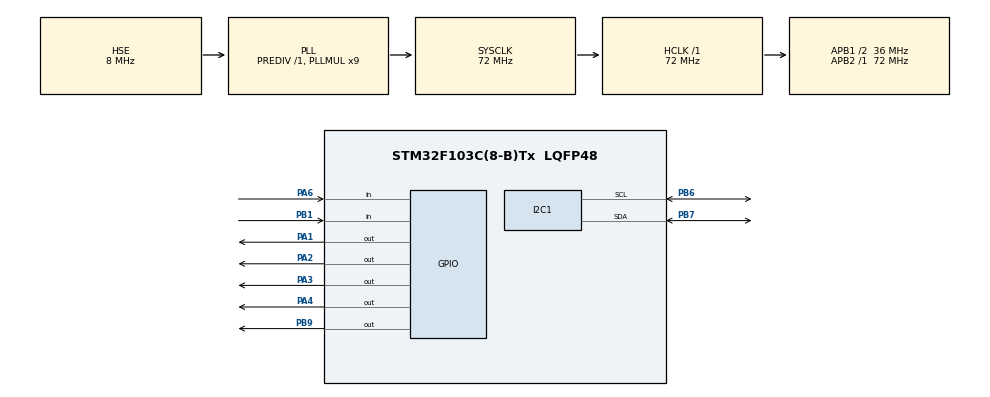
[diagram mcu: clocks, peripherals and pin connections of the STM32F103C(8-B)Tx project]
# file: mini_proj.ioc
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Mcu.Family=STM32F1
Mcu.Name=STM32F103C(8-B)Tx
Mcu.Package=LQFP48
NVIC.PriorityGroup=NVIC_PRIORITYGROUP_4
PA1.Signal=GPIO_Output
PA2.Signal=GPIO_Output
PA3.Signal=GPIO_Output
PA4.Signal=GPIO_Output
PA6.Signal=GPIO_Input
PB1.Signal=GPIO_Input
PB6.Mode=I2C
PB6.Signal=I2C1_SCL
PB7.Mode=I2C
PB7.Signal=I2C1_SDA
PB9.Signal=GPIO_Output
PD0-OSC_IN.Mode=HSE-External-Oscillator
PD0-OSC_IN.Signal=RCC_OSC_IN
PD1-OSC_OUT.Mode=HSE-External-Oscillator
PD1-OSC_OUT.Signal=RCC_OSC_OUT
ProjectManager.HeapSize=0x200
ProjectManager.StackSize=0x400
ProjectManager.TargetToolchain=STM32CubeIDE
RCC.ADCPresc=RCC_ADCPCLK2_DIV6
RCC.AHBFreq_Value=72000000
RCC.APB1CLKDivider=RCC_HCLK_DIV2
RCC.APB1Freq_Value=36000000
RCC.APB1TimFreq_Value=72000000
RCC.APB2Freq_Value=72000000
RCC.APB2TimFreq_Value=72000000
RCC.HCLKFreq_Value=72000000
RCC.PLLMUL=RCC_PLL_MUL9
RCC.PLLSourceVirtual=RCC_PLLSOURCE_HSE
RCC.SYSCLKFreq_VALUE=72000000
RCC.SYSCLKSource=RCC_SYSCLKSOURCE_PLLCLK
RCC.USBFreq_Value=72000000
TIM1.Prescaler=71
VP_TIM1_VS_ClockSourceINT.Mode=Internal
board=custom

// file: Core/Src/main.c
/* USER CODE BEGIN Header */
/**
  ******************************************************************************
  * @file           : main.c
  * @brief          : Main program body
  ******************************************************************************
  * @attention
  *
  * Copyright (c) 2023 STMicroelectronics.
  * All rights reserved.
  *
  * This software is licensed under terms that can be found in the LICENSE file
  * in the root directory of this software component.
  * If no LICENSE file comes with this software, it is provided AS-IS.
  *
  ******************************************************************************
  */
/* USER CODE END Header */
#include "main.h"

/* USER CODE BEGIN Includes */
#include "liquidcrystal_i2c.h"
#include "stdio.h"
/* USER CODE END Includes */

I2C_HandleTypeDef hi2c1;

TIM_HandleTypeDef htim1;

void SystemClock_Config(void);
static void MX_GPIO_Init(void);
static void MX_I2C1_Init(void);
static void MX_TIM1_Init(void);

/* USER CODE BEGIN 0 */
#define DHT11_PORT GPIOB
#define DHT11_PIN GPIO_PIN_9
uint8_t RHI, RHD, TCI, TCD, SUM;
uint32_t pMillis, cMillis;
float tCelsius = 0;

void microDelay (uint16_t delay)
{
  __HAL_TIM_SET_COUNTER(&htim1, 0);
  while (__HAL_TIM_GET_COUNTER(&htim1) < delay);
}

uint8_t DHT11_Start (void)
{
  uint8_t Response = 0;
  GPIO_InitTypeDef GPIO_InitStructPrivate = {0};
  GPIO_InitStructPrivate.Pin = DHT11_PIN;
  GPIO_InitStructPrivate.Mode = GPIO_MODE_OUTPUT_PP;
  GPIO_InitStructPrivate.Speed = GPIO_SPEED_FREQ_LOW;
  GPIO_InitStructPrivate.Pull = GPIO_NOPULL;
  HAL_GPIO_Init(DHT11_PORT, &GPIO_InitStructPrivate); // set the pin as output
  HAL_GPIO_WritePin (DHT11_PORT, DHT11_PIN, 0);   // pull the pin low
  HAL_Delay(20);   // wait for 20ms
  HAL_GPIO_WritePin (DHT11_PORT, DHT11_PIN, 1);   // pull the pin high
  microDelay (30);   // wait for 30us
  GPIO_InitStructPrivate.Mode = GPIO_MODE_INPUT;
  GPIO_InitStructPrivate.Pull = GPIO_PULLUP;
  HAL_GPIO_Init(DHT11_PORT, &GPIO_InitStructPrivate); // set the pin as input
  microDelay (40);
  if (!(HAL_GPIO_ReadPin (DHT11_PORT, DHT11_PIN)))
  {
    microDelay (80);
    if ((HAL_GPIO_ReadPin (DHT11_PORT, DHT11_PIN))) Response = 1;
  }
  pMillis = HAL_GetTick();
  cMillis = HAL_GetTick();
  while ((HAL_GPIO_ReadPin (DHT11_PORT, DHT11_PIN)) && pMillis + 2 > cMillis)
  {
    cMillis = HAL_GetTick();
  }
  return Response;
}

uint8_t DHT11_Read (void)
{
  uint8_t a,b;
  for (a=0;a<8;a++)
  {
    pMillis = HAL_GetTick();
    cMillis = HAL_GetTick();
    while (!(HAL_GPIO_ReadPin (DHT11_PORT, DHT11_PIN)) && pMillis + 2 > cMillis)
    {  // wait for the pin to go high
      cMillis = HAL_GetTick();
    }
    microDelay (40);   // wait for 40 us
    if (!(HAL_GPIO_ReadPin (DHT11_PORT, DHT11_PIN)))   // if the pin is low
      b&= ~(1<<(7-a));
    else
      b|= (1<<(7-a));
    pMillis = HAL_GetTick();
    cMillis = HAL_GetTick();
    while ((HAL_GPIO_ReadPin (DHT11_PORT, DHT11_PIN)) && pMillis + 2 > cMillis)
    {  // wait for the pin to go low
      cMillis = HAL_GetTick();
    }
  }
  return b;
}

// ------------------stepper--------------------------------
void delay(uint16_t us)
{
	__HAL_TIM_SET_COUNTER(&htim1,0);
	while(__HAL_TIM_GET_COUNTER(&htim1)<us);
}
#define stepsperrev 4096

void stepper_set_rpm (int rpm)  // Set rpm--> max 13, min 1,,,  went to 14 rev/min
{
	delay(60000000/stepsperrev/rpm);
}
void stepper_half_drive(int step)
{
	switch (step){
			case 0:
				  HAL_GPIO_WritePin(GPIOA, GPIO_PIN_1, GPIO_PIN_SET);   // IN1
				  HAL_GPIO_WritePin(GPIOA, GPIO_PIN_2, GPIO_PIN_RESET);   // IN2
				  HAL_GPIO_WritePin(GPIOA, GPIO_PIN_3, GPIO_PIN_RESET);   // IN3
				  HAL_GPIO_WritePin(GPIOA, GPIO_PIN_4, GPIO_PIN_RESET);   // IN4
				  break;

			case 1:
				  HAL_GPIO_WritePin(GPIOA, GPIO_PIN_1, GPIO_PIN_SET);   // IN1
				  HAL_GPIO_WritePin(GPIOA, GPIO_PIN_2, GPIO_PIN_SET);   // IN2
				  HAL_GPIO_WritePin(GPIOA, GPIO_PIN_3, GPIO_PIN_RESET);   // IN3
				  HAL_GPIO_WritePin(GPIOA, GPIO_PIN_4, GPIO_PIN_RESET);   // IN4
				  break;

			case 2:
				  HAL_GPIO_WritePin(GPIOA, GPIO_PIN_1, GPIO_PIN_RESET);   // IN1
				  HAL_GPIO_WritePin(GPIOA, GPIO_PIN_2, GPIO_PIN_SET);   // IN2
				  HAL_GPIO_WritePin(GPIOA, GPIO_PIN_3, GPIO_PIN_RESET);   // IN3
				  HAL_GPIO_WritePin(GPIOA, GPIO_PIN_4, GPIO_PIN_RESET);   // IN4
				  break;

			case 3:
				  HAL_GPIO_WritePin(GPIOA, GPIO_PIN_1, GPIO_PIN_RESET);   // IN1
				  HAL_GPIO_WritePin(GPIOA, GPIO_PIN_2, GPIO_PIN_SET);   // IN2
				  HAL_GPIO_WritePin(GPIOA, GPIO_PIN_3, GPIO_PIN_SET);   // IN3
				  HAL_GPIO_WritePin(GPIOA, GPIO_PIN_4, GPIO_PIN_RESET);   // IN4
				  break;

			case 4:
				  HAL_GPIO_WritePin(GPIOA, GPIO_PIN_1, GPIO_PIN_RESET);   // IN1
				  HAL_GPIO_WritePin(GPIOA, GPIO_PIN_2, GPIO_PIN_RESET);   // IN2
				  HAL_GPIO_WritePin(GPIOA, GPIO_PIN_3, GPIO_PIN_SET);   // IN3
				  HAL_GPIO_WritePin(GPIOA, GPIO_PIN_4, GPIO_PIN_RESET);   // IN4
				  break;

			case 5:
				  HAL_GPIO_WritePin(GPIOA, GPIO_PIN_1, GPIO_PIN_RESET);   // IN1
				  HAL_GPIO_WritePin(GPIOA, GPIO_PIN_2, GPIO_PIN_RESET);   // IN2
				  HAL_GPIO_WritePin(GPIOA, GPIO_PIN_3, GPIO_PIN_SET);   // IN3
				  HAL_GPIO_WritePin(GPIOA, GPIO_PIN_4, GPIO_PIN_SET);   // IN4
				  break;

			case 6:
				  HAL_GPIO_WritePin(GPIOA, GPIO_PIN_1, GPIO_PIN_RESET);   // IN1
				  HAL_GPIO_WritePin(GPIOA, GPIO_PIN_2, GPIO_PIN_RESET);   // IN2
				  HAL_GPIO_WritePin(GPIOA, GPIO_PIN_3, GPIO_PIN_RESET);   // IN3
				  HAL_GPIO_WritePin(GPIOA, GPIO_PIN_4, GPIO_PIN_SET);   // IN4
				  break;

			case 7:
				  HAL_GPIO_WritePin(GPIOA, GPIO_PIN_1, GPIO_PIN_SET);   // IN1
				  HAL_GPIO_WritePin(GPIOA, GPIO_PIN_2, GPIO_PIN_RESET);   // IN2
				  HAL_GPIO_WritePin(GPIOA, GPIO_PIN_3, GPIO_PIN_RESET);   // IN3
				  HAL_GPIO_WritePin(GPIOA, GPIO_PIN_4, GPIO_PIN_SET);   // IN4
				  break;

			}
}
/* USER CODE END 0 */

int main(void)
{
  /* USER CODE BEGIN 1 */
int pir,flag =0;
  /* USER CODE END 1 */

  /* MCU Configuration--------------------------------------------------------*/

  /* Reset of all peripherals, Initializes the Flash interface and the Systick. */
  HAL_Init();

  /* Configure the system clock */
  SystemClock_Config();

  /* Initialize all configured peripherals */
  MX_GPIO_Init();
  MX_I2C1_Init();
  MX_TIM1_Init();
  /* USER CODE BEGIN 2 */
  HAL_TIM_Base_Start(&htim1);
  HD44780_Init(2);
  HD44780_SetCursor(0,0);
  HD44780_PrintStr("PIR TEST");
  char buffer[15];
  /* USER CODE END 2 */

  /* Infinite loop */
  /* USER CODE BEGIN WHILE */
  while (1)
  {
	  pir = HAL_GPIO_ReadPin(GPIOA,GPIO_PIN_6);
	  if(DHT11_Start())
	      {
	        RHI = DHT11_Read(); // Relative humidity integral
	        RHD = DHT11_Read(); // Relative humidity decimal
	        TCI = DHT11_Read(); // Celsius integral
	        TCD = DHT11_Read(); // Celsius decimal
	        SUM = DHT11_Read(); // Check sum
	        if (RHI + RHD + TCI + TCD == SUM)
	        {
	          // Can use RHI and TCI for any purposes if whole number only needed
	          tCelsius = (float)TCI + (float)(TCD/10.0);
	         // tFahrenheit = tCelsius * 9/5 + 32;
	          //RH = (float)RHI + (float)(RHD/10.0);
	          // Can use tCelsius, tFahrenheit and RH for any purposes
	        }
	       int tempint = (int)tCelsius;
	        sprintf (buffer, "%d", tempint);
	        	  HD44780_SetCursor(0,1);
	        	  HD44780_PrintStr(buffer);
	     /* if(tempint >33)
	       {
	    	   for(int i =0;i<512;i++)
	    	   		  {
	    	   			  for(int j =0;j<8;j++)
	    	   			  {
	    	   				stepper_half_drive(j);
	    	   				stepper_set_rpm(5);
	    	   			  }
	    	   		  }
	       }*/

	      }
	  sprintf (buffer, "%d", pir);
	  	  	        	  HD44780_SetCursor(0,0);
	  	  	        	  HD44780_PrintStr(buffer);
	 /* if(pir==1)
	  {
	  HD44780_SetCursor(0,0);
	   HD44780_PrintStr("PIR WORKING");
	  }
	  if(pir==0)
	  {
		  HD44780_SetCursor(0,0);
		  	   HD44780_PrintStr("PIR notWORKING");
	  }
	    */  HAL_Delay(1000);

    /* USER CODE END WHILE */

  }
}

void SystemClock_Config(void)
{
  RCC_OscInitTypeDef RCC_OscInitStruct = {0};
  RCC_ClkInitTypeDef RCC_ClkInitStruct = {0};

  /** Initializes the RCC Oscillators according to the specified parameters
  * in the RCC_OscInitTypeDef structure.
  */
  RCC_OscInitStruct.OscillatorType = RCC_OSCILLATORTYPE_HSE;
  RCC_OscInitStruct.HSEState = RCC_HSE_ON;
  RCC_OscInitStruct.HSEPredivValue = RCC_HSE_PREDIV_DIV1;
  RCC_OscInitStruct.HSIState = RCC_HSI_ON;
  RCC_OscInitStruct.PLL.PLLState = RCC_PLL_ON;
  RCC_OscInitStruct.PLL.PLLSource = RCC_PLLSOURCE_HSE;
  RCC_OscInitStruct.PLL.PLLMUL = RCC_PLL_MUL9;
  if (HAL_RCC_OscConfig(&RCC_OscInitStruct) != HAL_OK)
  {
    Error_Handler();
  }

  /** Initializes the CPU, AHB and APB buses clocks
  */
  RCC_ClkInitStruct.ClockType = RCC_CLOCKTYPE_HCLK|RCC_CLOCKTYPE_SYSCLK
                              |RCC_CLOCKTYPE_PCLK1|RCC_CLOCKTYPE_PCLK2;
  RCC_ClkInitStruct.SYSCLKSource = RCC_SYSCLKSOURCE_PLLCLK;
  RCC_ClkInitStruct.AHBCLKDivider = RCC_SYSCLK_DIV1;
  RCC_ClkInitStruct.APB1CLKDivider = RCC_HCLK_DIV2;
  RCC_ClkInitStruct.APB2CLKDivider = RCC_HCLK_DIV1;

  if (HAL_RCC_ClockConfig(&RCC_ClkInitStruct, FLASH_LATENCY_2) != HAL_OK)
  {
    Error_Handler();
  }
}

static void MX_I2C1_Init(void)
{

  hi2c1.Instance = I2C1;
  hi2c1.Init.ClockSpeed = 100000;
  hi2c1.Init.DutyCycle = I2C_DUTYCYCLE_2;
  hi2c1.Init.OwnAddress1 = 0;
  hi2c1.Init.AddressingMode = I2C_ADDRESSINGMODE_7BIT;
  hi2c1.Init.DualAddressMode = I2C_DUALADDRESS_DISABLE;
  hi2c1.Init.OwnAddress2 = 0;
  hi2c1.Init.GeneralCallMode = I2C_GENERALCALL_DISABLE;
  hi2c1.Init.NoStretchMode = I2C_NOSTRETCH_DISABLE;
  if (HAL_I2C_Init(&hi2c1) != HAL_OK)
  {
    Error_Handler();
  }

}

static void MX_TIM1_Init(void)
{

  TIM_ClockConfigTypeDef sClockSourceConfig = {0};
  TIM_MasterConfigTypeDef sMasterConfig = {0};

  htim1.Instance = TIM1;
  htim1.Init.Prescaler = 71;
  htim1.Init.CounterMode = TIM_COUNTERMODE_UP;
  htim1.Init.Period = 65535;
  htim1.Init.ClockDivision = TIM_CLOCKDIVISION_DIV1;
  htim1.Init.RepetitionCounter = 0;
  htim1.Init.AutoReloadPreload = TIM_AUTORELOAD_PRELOAD_DISABLE;
  if (HAL_TIM_Base_Init(&htim1) != HAL_OK)
  {
    Error_Handler();
  }
  sClockSourceConfig.ClockSource = TIM_CLOCKSOURCE_INTERNAL;
  if (HAL_TIM_ConfigClockSource(&htim1, &sClockSourceConfig) != HAL_OK)
  {
    Error_Handler();
  }
  sMasterConfig.MasterOutputTrigger = TIM_TRGO_RESET;
  sMasterConfig.MasterSlaveMode = TIM_MASTERSLAVEMODE_DISABLE;
  if (HAL_TIMEx_MasterConfigSynchronization(&htim1, &sMasterConfig) != HAL_OK)
  {
    Error_Handler();
  }

}

static void MX_GPIO_Init(void)
{
  GPIO_InitTypeDef GPIO_InitStruct = {0};

  /* GPIO Ports Clock Enable */
  __HAL_RCC_GPIOD_CLK_ENABLE();
  __HAL_RCC_GPIOA_CLK_ENABLE();
  __HAL_RCC_GPIOB_CLK_ENABLE();

  /*Configure GPIO pin Output Level */
  HAL_GPIO_WritePin(GPIOA, GPIO_PIN_1|GPIO_PIN_2|GPIO_PIN_3|GPIO_PIN_4, GPIO_PIN_RESET);

  /*Configure GPIO pin Output Level */
  HAL_GPIO_WritePin(GPIOB, GPIO_PIN_9, GPIO_PIN_RESET);

  /*Configure GPIO pins : PA1 PA2 PA3 PA4 */
  GPIO_InitStruct.Pin = GPIO_PIN_1|GPIO_PIN_2|GPIO_PIN_3|GPIO_PIN_4;
  GPIO_InitStruct.Mode = GPIO_MODE_OUTPUT_PP;
  GPIO_InitStruct.Pull = GPIO_NOPULL;
  GPIO_InitStruct.Speed = GPIO_SPEED_FREQ_LOW;
  HAL_GPIO_Init(GPIOA, &GPIO_InitStruct);

  /*Configure GPIO pin : PA6 */
  GPIO_InitStruct.Pin = GPIO_PIN_6;
  GPIO_InitStruct.Mode = GPIO_MODE_INPUT;
  GPIO_InitStruct.Pull = GPIO_NOPULL;
  HAL_GPIO_Init(GPIOA, &GPIO_InitStruct);

  /*Configure GPIO pin : PB1 */
  GPIO_InitStruct.Pin = GPIO_PIN_1;
  GPIO_InitStruct.Mode = GPIO_MODE_INPUT;
  GPIO_InitStruct.Pull = GPIO_NOPULL;
  HAL_GPIO_Init(GPIOB, &GPIO_InitStruct);

  /*Configure GPIO pin : PB9 */
  GPIO_InitStruct.Pin = GPIO_PIN_9;
  GPIO_InitStruct.Mode = GPIO_MODE_OUTPUT_PP;
  GPIO_InitStruct.Pull = GPIO_NOPULL;
  GPIO_InitStruct.Speed = GPIO_SPEED_FREQ_LOW;
  HAL_GPIO_Init(GPIOB, &GPIO_InitStruct);

}

void Error_Handler(void)
{
  __disable_irq();
  while (1)
  {
  }
}
